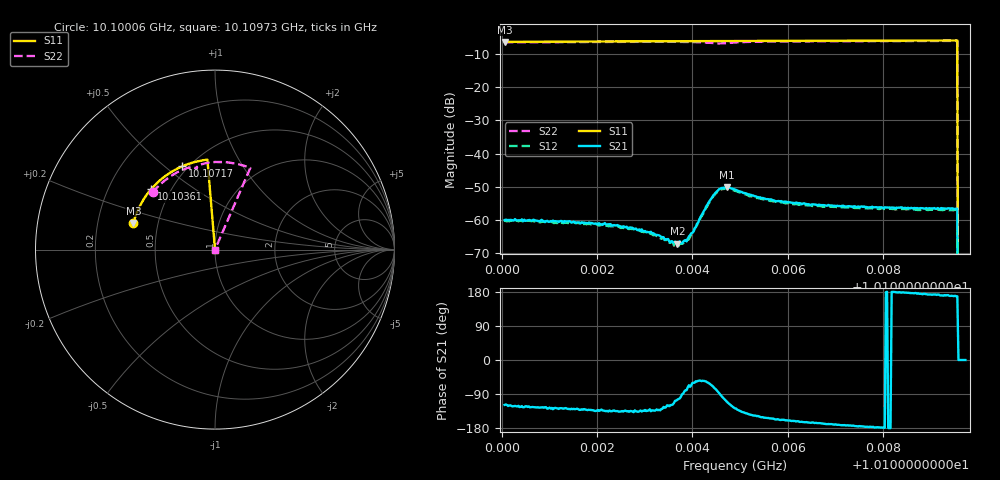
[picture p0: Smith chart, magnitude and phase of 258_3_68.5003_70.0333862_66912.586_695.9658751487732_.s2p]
#  HZ  S  RI  R  50.00
! Rohde & Schwarz Vector Network Analyzer
! Rohde-Schwarz,ZNB20-2Port,1311601062101988,3.16
! Created: UTC 3/20/2024, 5:00:09 PM
! freq[Hz]  re:S11  im:S11  re:S21  im:S21  re:S12  im:S12  re:S22  im:S22
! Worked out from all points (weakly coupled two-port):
!   401 points, 10.10006 GHz to 10.10973 GHz, reference 50 ohm
!   highest |S21| = -50.18 dB at 10.10473 GHz (marker M1); lowest = -67.2 dB at 10.10369 GHz (marker M2)
!   lowest |S11| = -6.4 dB at 10.10006 GHz (marker M3), VSWR 2.84, Z = 18 + j6.97 ohm
!   |S11| at or under -10 dB: 10.10956 GHz to end of sweep
!   |S22| runs from - to -6.1 dB; largest |S21 - S12| = 0.0003
!   S11 on the Smith chart (normalised r, x): 10.10006 GHz: 0.36, +0.14; 10.10361 GHz: 0.39, +0.35; 10.10717 GHz: 0.47, +0.58; 10.10973 GHz: 1.00, +0.00
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1.0100057e10  -0.4548 0.1491  -0.000474 -0.000874  -0.000406 -0.000891  -0.3476 0.3186
1.0101678e10  -0.4197 0.2411  -0.000592 -0.000706  -0.000528 -0.000714  -0.272 0.3911
1.010221e10  -0.404 0.2695  -0.000597 -0.000613  -0.000519 -0.000635  -0.2436 0.411
1.0102742e10  -0.3865 0.2967  -0.000547 -0.000531  -0.000491 -0.000543  -0.2134 0.429
1.0103298e10  -0.3664 0.3239  -0.000388 -0.000442  -0.000334 -0.000453  -0.1795 0.4451
1.0103613e10  -0.3542 0.3385  -0.00018 -0.000415  -0.000125 -0.000391  -0.1588 0.4526
1.0103685e10  -0.3512 0.3418  -0.000111 -0.000423  -5.07e-05 -0.000425  -0.1537 0.4541
1.010383e10  -0.3453 0.3483  5.94e-05 -0.000485  7.3e-05 -0.000452  -0.1433 0.4565
1.0103927e10  -0.3412 0.3526  0.000225 -0.000519  0.00023 -0.000455  -0.1361 0.4577
1.0104072e10  -0.3353 0.3589  0.000436 -0.000651  0.000477 -0.000618  -0.1247 0.4582
1.0104338e10  -0.3237 0.3701  0.000897 -0.00158  0.000981 -0.00146  -0.1055 0.4519
1.0104459e10  -0.3185 0.3752  0.00067 -0.00233  0.00087 -0.00217  -0.1016 0.4457
1.010458e10  -0.3129 0.3802  -2.11e-05 -0.00295  0.000234 -0.00282  -0.1036 0.4427
1.0104725e10  -0.3065 0.3859  -0.00106 -0.00291  -0.000803 -0.00285  -0.1066 0.4476
1.0104895e10  -0.2988 0.3926  -0.00174 -0.00228  -0.00148 -0.00231  -0.1022 0.458
1.0105741e10  -0.2577 0.4233  -0.00176 -0.00075  -0.00167 -0.000885  -0.0463 0.4827
1.0106515e10  -0.2175 0.4473  -0.00166 -0.00045  -0.00153 -0.000553  0.00526 0.4883
1.0107168e10  -0.1819 0.4645  -0.00162 -0.000227  -0.00151 -0.000359  0.0477 0.488
1.0108136e10  -0.1269 0.4842  -0.00154 -7.17e-06  -0.00147 -0.000138  0.1094 0.4803
1.0109515e10  -0.0451 0.5008  -0.00145 0.000266  -0.00142 0.000139  0.1937 0.4557
1.0109635e10  0 0  0 0  0 0  0 0
1.0109732e10  0 0  0 0  0 0  0 0
